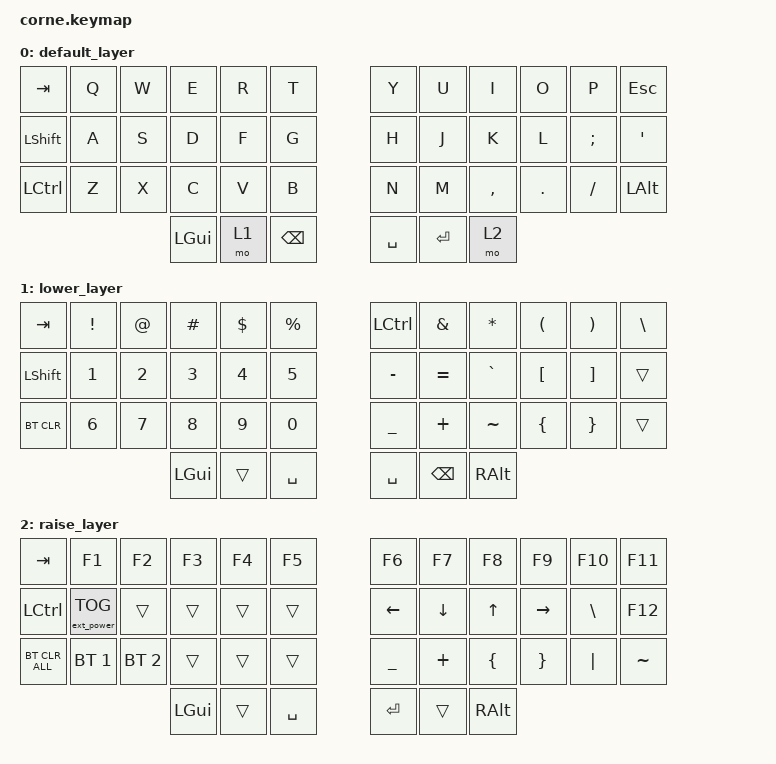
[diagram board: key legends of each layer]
/*
 * Copyright (c) 2020 The ZMK Contributors
 *
 * SPDX-License-Identifier: MIT
 */

#include <behaviors.dtsi>
#include <dt-bindings/zmk/bt.h>
#include <dt-bindings/zmk/ext_power.h>
#include <dt-bindings/zmk/keys.h>

/ {
    keymap {
        compatible = "zmk,keymap";

        default_layer {
            // -----------------------------------------------------------------------------------------
            // |  TAB |  Q  |  W  |  E  |  R  |  T  |   |  Y  |  U   |  I  |  O  |  P  | BKSP |
            // | CTRL |  A  |  S  |  D  |  F  |  G  |   |  H  |  J   |  K  |  L  |  ;  |  /   |
            // | SHFT |  Z  |  X  |  C  |  V  |  B  |   |  N  |  M   |  ,  |  .  |  '  | ESC  |
            //                    | GUI | LWR | SPC |   | ENT | RSE  | ALT |

            bindings = <
&kp TAB         &kp Q  &kp W  &kp E     &kp R  &kp T            &kp Y      &kp U      &kp I      &kp O    &kp P     &kp ESC
&kp LEFT_SHIFT  &kp A  &kp S  &kp D     &kp F  &kp G            &kp H      &kp J      &kp K      &kp L    &kp SEMI  &kp SQT
&kp LCTRL       &kp Z  &kp X  &kp C     &kp V  &kp B            &kp N      &kp M      &kp COMMA  &kp DOT  &kp FSLH  &kp LEFT_ALT
                              &kp LGUI  &mo 1  &kp BACKSPACE    &kp SPACE  &kp ENTER  &mo 2
            >;
        };

        lower_layer {
            // -----------------------------------------------------------------------------------------
            // |  TAB |  1  |  2  |  3  |  4  |  5  |   |  6  |  7  |  8  |  9  |  0  | BKSP |
            // | BTCLR| BT1 | BT2 | BT3 | BT4 | BT5 |   | LFT | DWN |  UP | RGT | RGT |      |
            // | SHFT |     |     |     |     |     |   |     |     |     |     |     |      |
            //                    | GUI |     | SPC |   | ENT |     | ALT |

            bindings = <
&kp TAB         &kp EXCLAMATION  &kp AT_SIGN   &kp HASH      &kp DOLLAR    &kp PERCENT    &kp LCTRL       &kp AMPERSAND  &kp ASTERISK  &kp LEFT_PARENTHESIS  &kp RIGHT_PARENTHESIS  &kp BACKSLASH
&kp LEFT_SHIFT  &kp NUMBER_1     &kp NUMBER_2  &kp NUMBER_3  &kp NUMBER_4  &kp N5         &kp MINUS       &kp EQUAL      &kp GRAVE     &kp LEFT_BRACKET      &kp RIGHT_BRACKET      &trans
&bt BT_CLR      &kp NUMBER_6     &kp N7        &kp N8        &kp N9        &kp N0         &kp UNDERSCORE  &kp PLUS       &kp TILDE     &kp LEFT_BRACE        &kp RIGHT_BRACE        &trans
                                               &kp LGUI      &trans        &kp SPACE      &kp SPACE       &kp BACKSPACE  &kp RALT
            >;
        };

        raise_layer {
            // -----------------------------------------------------------------------------------------
            // |  TAB |  !  |  @  |  #  |  $  |  %  |   |  ^  |  &  |  *  |  (  |  )  | BKSP |
            // | CTRL |  .  |     |  [  |  *  |  [  |   |  -  |  =  |  [  |  ]  |  \  |  `   |
            // | SHFT |  ,  |     |  ]  |     |  ]  |   |  _  |  +  |  {  |  }  | "|" |  ~   |
            //                    | GUI |     | SPC |   | ENT |     | ALT |

            bindings = <
&kp TAB         &kp F1             &kp F2        &kp F3    &kp F4  &kp F5       &kp F6          &kp F7          &kp F8        &kp F9     &kp F10   &kp F11
&kp LCTRL       &ext_power EP_TOG  &trans        &trans    &trans  &trans       &kp LEFT_ARROW  &kp DOWN_ARROW  &kp UP_ARROW  &kp RIGHT  &kp BSLH  &kp F12
&bt BT_CLR_ALL  &bt BT_SEL 1       &bt BT_SEL 2  &trans    &trans  &trans       &kp UNDER       &kp PLUS        &kp LBRC      &kp RBRC   &kp PIPE  &kp TILDE
                                                 &kp LGUI  &trans  &kp SPACE    &kp RET         &trans          &kp RALT
            >;
        };
    };
};
